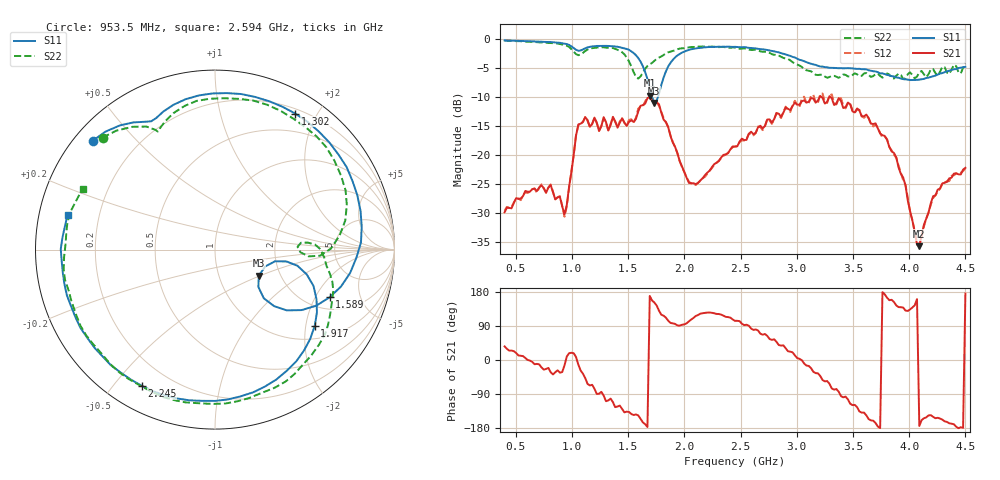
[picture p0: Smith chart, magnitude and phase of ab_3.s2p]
! Anritsu VNA Master:  Model: MS2036C/2
! SN:  2120025
! /bd0/ab_3.s2p
! Existing Calibration Information:
! TYPE:  Current Settings,  Active Cal Settings
! TIME:  03/02/2026 02:55:04 AM,  03/02/2026 02:47:23 AM
! INTERNAL TEMP:  53.0 C,  51.8 C
! # POINTS:  201,  201
! START FREQ:  400.000 MHz,  400.000 MHz
! STOP FREQ:  4.500 GHz,  4.500 GHz
! SOURCE POWER:  High,  High
! IFBW:  10 kHz,  10 kHz
! AVG FACTOR:  1 ,  1
! REF PLANE 1:  0 mm,  0 mm
! REF PLANE 2:  0 mm,  0 mm
! CAL TYPE:  Full 2 Port,  Full 2 Port
! CAL METHOD:  SOLT,  SOLT
! CAL LINE TYPE:  Coax,  Coax
! DUT PORT 1:  N-Conn(M),  N-Conn(M)
! DUT PORT 2:  N-Conn(M),  N-Conn(M)
! CAL STATUS:  OK: Accuracy High,  --
# GHZ S DB R 50.0
! FREQ.GHZ  S11DB  S11A  S21DB  S21A  S12DB  S12A  S22DB  S22A
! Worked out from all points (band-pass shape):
!   201 points, 400 MHz to 4.5 GHz, reference 50 ohm
!   highest |S21| = -9.69 dB at 1.692 GHz (marker M1); lowest = -35.7 dB at 4.09 GHz (marker M2)
!   |S21| within 3 dB of the highest: 1.585 GHz to 1.795 GHz (210.7 MHz wide, 12.5 % of centre); 2.879 GHz to 3.566 GHz (687.1 MHz wide, 21.3 % of centre)
!   lowest |S11| = -10.9 dB at 1.732 GHz (marker M3), VSWR 1.79, Z = 77.5 - j24.5 ohm
!   |S11| at or under -10 dB: 1.714 GHz to 1.763 GHz (49.12 MHz wide, 2.83 % of centre)
!   |S22| runs from -6.8 to -0.2 dB; largest |S21 - S12| = 0.029
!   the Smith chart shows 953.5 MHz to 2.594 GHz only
!   S11 on the Smith chart (normalised r, x): 953.5 MHz: 0.05, +0.38; 1.302 GHz: 0.26, +1.72; 1.589 GHz: 2.59, -2.64; 1.917 GHz: 1.35, -2.25; 2.245 GHz: 0.10, -0.59; 2.594 GHz: 0.09, +0.11
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0.4  -0.17 -88.6  -29.81 35.8  -29.54 35.3  -0.18 -89.6
0.7075  -0.36 -160.2  -25.53 -11.5  -25.59 -13.0  -0.50 -161.9
0.9535  -0.80 138.2  -28.51 9.4  -28.76 9.2  -1.07 135.1
1.097  -1.71 110.5  -14.21 -36.1  -14.22 -35.5  -2.31 111.3
1.302  -1.11 59.5  -14.24 -108.7  -14.41 -107.1  -1.41 58.9
1.4455  -1.42 20.9  -13.58 -129.3  -13.56 -130.0  -2.21 18.7
1.589  -3.20 -22.6  -12.42 -146.2  -11.95 -147.7  -6.74 1.9
1.6915  -8.32 -44.9  -9.69 169.1  -10.12 167.1  -4.30 -4.0
1.7325  -10.94 -30.8  -11.03 151.6  -10.70 151.2  -3.69 -11.8
1.7735  -9.36 -11.0  -11.16 130.3  -11.41 130.8  -3.13 -19.2
1.917  -3.10 -37.4  -18.54 95.3  -18.54 93.6  -1.86 -52.9
2.04  -1.81 -70.0  -24.74 102.0  -24.53 102.0  -1.37 -81.5
2.245  -1.30 -118.3  -22.01 124.5  -22.17 125.2  -1.24 -127.9
2.45  -1.27 -162.8  -18.47 103.4  -18.49 102.6  -1.41 -172.5
2.5935  -1.48 166.9  -15.91 82.9  -16.19 82.7  -1.81 155.2
2.8395  -2.23 115.9  -12.81 39.4  -13.04 39.4  -2.79 102.7
3.147  -4.31 58.1  -10.20 -31.2  -9.56 -31.7  -5.79 43.3
3.4955  -4.99 -9.1  -12.41 -119.1  -12.24 -121.5  -6.13 -27.8
3.8235  -6.21 -97.3  -18.56 157.9  -18.56 160.5  -6.05 -117.3
4.09  -6.93 -168.9  -35.65 -174.2  -35.52 -178.2  -5.67 167.6
4.213  -6.36 160.3  -27.03 -150.0  -27.35 -149.0  -5.11 142.8
4.5  -4.72 88.4  -22.14 175.2  -22.22 177.1  -4.15 77.3
